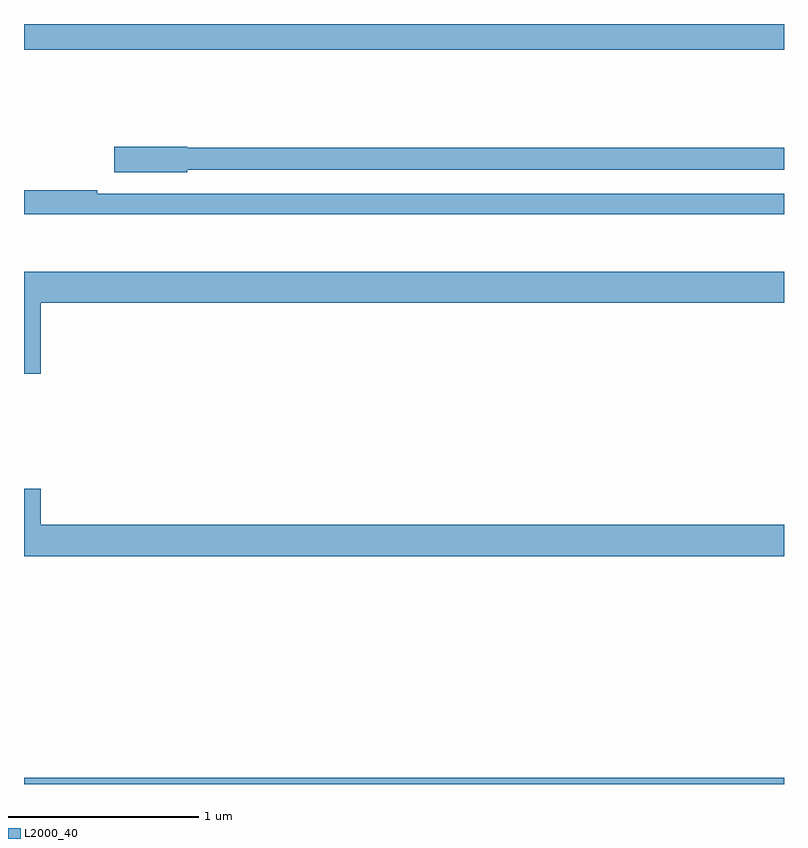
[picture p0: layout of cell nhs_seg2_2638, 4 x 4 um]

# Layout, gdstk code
import gdstk
lib = gdstk.Library(unit=1e-6, precision=1e-09)
def R(c, l, rs):  # rectangles x0, y0, x1, y1
    for r in rs: c.add(gdstk.rectangle(r[:2], r[2:], *l))
def P(c, l, *ps):  # polygons
    for p in ps: c.add(gdstk.Polygon(p, *l))
L2000_40 = (2000, 40)

nhs_seg2_2638 = lib.new_cell('nhs_seg2_2638')
R(nhs_seg2_2638, L2000_40, [(249,615.8,253,615.832), (249,619.664,253,619.8)])
P(nhs_seg2_2638, L2000_40, [(249.858,619.032),(253,619.032),(253,619.148),(249.858,619.148),(249.858,619.154),(249.474,619.154),(249.474,619.019),(249.858,619.019)],
  [(253,618.906),(249.386,618.906),(249.386,618.926),(249,618.926),(249,618.798),(253,618.798)],
  [(249.088,618.332),(253,618.332),(253,618.496),(249,618.496),(249,617.958),(249.088,617.958)],
  [(253,617.164),(249.088,617.164),(249.088,617.353),(249,617.353),(249,617),(253,617)])

lib.write_gds('nhs_seg2_2638.gds')
